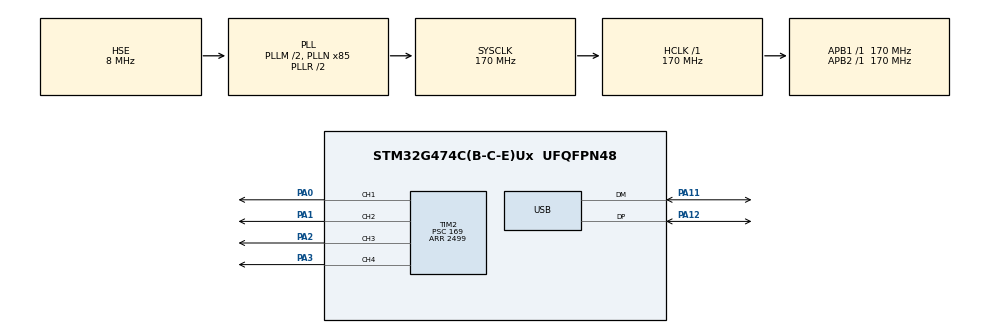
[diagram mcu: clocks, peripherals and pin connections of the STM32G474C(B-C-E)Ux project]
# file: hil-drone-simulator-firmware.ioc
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Mcu.Family=STM32G4
Mcu.Name=STM32G474C(B-C-E)Ux
Mcu.Package=UFQFPN48
NVIC.PriorityGroup=NVIC_PRIORITYGROUP_4
NVIC.TIM6_DAC_IRQn=true\:0\:0\:false\:false\:true\:true\:true\:true
NVIC.USB_LP_IRQn=true\:0\:0\:false\:false\:true\:false\:true\:true
PA0.Signal=S_TIM2_CH1
PA1.Signal=S_TIM2_CH2
PA11.Mode=Device
PA11.Signal=USB_DM
PA12.Mode=Device
PA12.Signal=USB_DP
PA2.Signal=S_TIM2_CH3
PA3.Signal=S_TIM2_CH4
PF0-OSC_IN.Mode=HSE-External-Oscillator
PF0-OSC_IN.Signal=RCC_OSC_IN
PF1-OSC_OUT.Mode=HSE-External-Oscillator
PF1-OSC_OUT.Signal=RCC_OSC_OUT
ProjectManager.HeapSize=0x200
ProjectManager.StackSize=0x400
ProjectManager.TargetToolchain=STM32CubeIDE
RCC.ADC12Freq_Value=170000000
RCC.ADC345Freq_Value=170000000
RCC.AHBFreq_Value=170000000
RCC.APB1Freq_Value=170000000
RCC.APB1TimFreq_Value=170000000
RCC.APB2Freq_Value=170000000
RCC.APB2TimFreq_Value=170000000
RCC.CK48CLockSelection=RCC_USBCLKSOURCE_HSI48
RCC.CortexFreq_Value=170000000
RCC.EXTERNAL_CLOCK_VALUE=12288000
RCC.HCLKFreq_Value=170000000
RCC.HSE_VALUE=8000000
RCC.HSI48_VALUE=48000000
RCC.HSI_VALUE=16000000
RCC.LSE_VALUE=32768
RCC.PLLM=RCC_PLLM_DIV2
RCC.PLLN=85
RCC.PLLQ=RCC_PLLQ_DIV6
RCC.PLLSourceVirtual=RCC_PLLSOURCE_HSE
RCC.SYSCLKFreq_VALUE=170000000
RCC.SYSCLKSource=RCC_SYSCLKSOURCE_PLLCLK
RCC.USBFreq_Value=48000000
RCC.VCOOutputFreq_Value=340000000
SH.S_TIM2_CH1.0=TIM2_CH1,PWM Generation1 CH1
SH.S_TIM2_CH2.0=TIM2_CH2,PWM Generation2 CH2
SH.S_TIM2_CH3.0=TIM2_CH3,PWM Generation3 CH3
SH.S_TIM2_CH4.0=TIM2_CH4,PWM Generation4 CH4
TIM2.Channel-PWM\ Generation1\ CH1=TIM_CHANNEL_1
TIM2.Channel-PWM\ Generation2\ CH2=TIM_CHANNEL_2
TIM2.Channel-PWM\ Generation3\ CH3=TIM_CHANNEL_3
TIM2.Channel-PWM\ Generation4\ CH4=TIM_CHANNEL_4
TIM2.PeriodNoDither=2499
TIM2.Prescaler=169
TIM6.PeriodNoDither=999
TIM6.Prescaler=169
USB_DEVICE.CLASS_NAME_FS=CDC
USB_DEVICE.VirtualMode=Cdc
USB_DEVICE.VirtualModeFS=Cdc_FS
VP_SYS_VS_DBSignals.Mode=DisableDeadBatterySignals
VP_TIM6_VS_ClockSourceINT.Mode=Enable_Timer
VP_USB_DEVICE_VS_USB_DEVICE_CDC_FS.Mode=CDC_FS
board=custom

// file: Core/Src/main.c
/* USER CODE BEGIN Header */
/**
  ******************************************************************************
  * @file           : main.c
  * @brief          : Main program body
  ******************************************************************************
  * @attention
  *
  * Copyright (c) 2026 STMicroelectronics.
  * All rights reserved.
  *
  * This software is licensed under terms that can be found in the LICENSE file
  * in the root directory of this software component.
  * If no LICENSE file comes with this software, it is provided AS-IS.
  *
  ******************************************************************************
  */
/* USER CODE END Header */
#include "main.h"
#include "usb_device.h"

/* USER CODE BEGIN Includes */
#include <math.h>
#include <stdlib.h>
#include "usbd_cdc_if.h"
/* USER CODE END Includes */

/* USER CODE BEGIN PTD */
typedef struct {
    // Parámetros Físicos
    float masa, gravedad, f_aero, tau_motor;
    float inercia_xx, inercia_yy, inercia_zz;
    float alpha, beta;

    // Estado Real (Traslación y Rotación)
    float x, y, z;
    float vx, vy, vz;
    float phi, theta, psi;
    float p, q, r;

    // Sensores y Referencias
    float z_medida, z_filtrada;
    float x_ref, y_ref, z_ref;

    // Salidas PID y Motores
    float theta_deseado, phi_deseado;
    float U1_real, U1_deseado, U2, U3, U4;
    float angulo_max;

    // Memoria PID Z
    float kp_z, ki_z, kd_z;
    float err_z_acum, err_z_prev;

    // Memoria PID XY
    float kp_xy, ki_xy, kd_xy;
    float err_x_acum, err_x_prev;
    float err_y_acum, err_y_prev;

    // Memoria PID Actitud
    float kp_att, ki_att, kd_att;
    float err_phi_acum, err_phi_prev;
    float err_theta_acum, err_theta_prev;
    float err_psi_acum, err_psi_prev;
} Drone_t;
/* USER CODE END PTD */

TIM_HandleTypeDef htim2;
TIM_HandleTypeDef htim6;

/* USER CODE BEGIN PV */
Drone_t drone;
volatile uint8_t received_command = 0;
/* USER CODE END PV */

void SystemClock_Config(void);
static void MX_GPIO_Init(void);
static void MX_TIM2_Init(void);
static void MX_TIM6_Init(void);

int main(void)
{

  /* MCU Configuration--------------------------------------------------------*/

  /* Reset of all peripherals, Initializes the Flash interface and the Systick. */
  HAL_Init();

  /* Configure the system clock */
  SystemClock_Config();

  /* Initialize all configured peripherals */
  MX_GPIO_Init();
  MX_TIM2_Init();
  MX_TIM6_Init();
  MX_USB_Device_Init();
  /* USER CODE BEGIN 2 */
  drone.masa = 1.2f;
  drone.gravedad = 9.81f;
  drone.inercia_xx = 0.01f;
  drone.inercia_yy = 0.01f;
  drone.inercia_zz = 0.01f;
  drone.f_aero = 0.1f;
  drone.tau_motor = 0.05f;

  float dt_nav = 0.01f;
  drone.alpha = dt_nav / (drone.tau_motor + dt_nav);
  drone.beta = 0.1f;

  drone.z = 10.0f;
  drone.z_filtrada = 10.0f;
  drone.U1_real = drone.masa * drone.gravedad;

  drone.x_ref = 5.0f;
  drone.y_ref = 5.0f;
  drone.z_ref = 5.0f;
  drone.angulo_max = 0.3f;

  drone.kp_z = 6.0f;    drone.ki_z = 0.0f;    drone.kd_z = 5.5f;
  drone.kp_xy = 0.04f;  drone.ki_xy = 0.0f;   drone.kd_xy = 0.4f;
  drone.kp_att = 2.5f;  drone.ki_att = 0.0f;  drone.kd_att = 0.3f;

  HAL_TIM_Base_Start_IT(&htim6);
  HAL_TIM_PWM_Start(&htim2, TIM_CHANNEL_1);
  HAL_TIM_PWM_Start(&htim2, TIM_CHANNEL_2);
  HAL_TIM_PWM_Start(&htim2, TIM_CHANNEL_3);
  HAL_TIM_PWM_Start(&htim2, TIM_CHANNEL_4);
  /* USER CODE END 2 */

  /* Infinite loop */
  while (1)
  {

    /* USER CODE BEGIN 3 */

	// RECEPCIÓN DE COMANDO POR USB DESDE EL PC
	if (received_command != 0) {
	  switch(received_command) {
	    case 'w': case 'W': drone.x_ref += 2.0f; break; // Adelante
	    case 's': case 'S': drone.x_ref -= 2.0f; break; // Atrás
	    case 'a': case 'A': drone.y_ref += 2.0f; break; // Izquierda
	    case 'd': case 'D': drone.y_ref -= 2.0f; break; // Derecha
	    case 'r': case 'R': drone.z_ref += 2.0f; break; // Subir (Elevar)
	    case 'f': case 'F': drone.z_ref -= 2.0f; break; // Bajar (Frenar)
	  }
	  received_command = 0;
	}

    // ENVIO DE INFORMACIÓN POR USB AL PC
	// Creamos buffer para guardar el mensaje
	char tx_buffer[64];
	// Formateamos las variables float a texto con 2 decimales
	uint16_t len = snprintf(tx_buffer, sizeof(tx_buffer), "X:%.2f, Y:%.2f, Z:%.2f\r\n", drone.x, drone.y, drone.z);
	// Enviamos el mensaje por el USB
	CDC_Transmit_FS((uint8_t*)tx_buffer, len);
	// Pausa de 50 ms para no saturar el bus USB ni colgar el PC
	HAL_Delay(50);
  }
  /* USER CODE END 3 */
}

void SystemClock_Config(void)
{
  RCC_OscInitTypeDef RCC_OscInitStruct = {0};
  RCC_ClkInitTypeDef RCC_ClkInitStruct = {0};

  /** Configure the main internal regulator output voltage
  */
  HAL_PWREx_ControlVoltageScaling(PWR_REGULATOR_VOLTAGE_SCALE1_BOOST);

  /** Initializes the RCC Oscillators according to the specified parameters
  * in the RCC_OscInitTypeDef structure.
  */
  RCC_OscInitStruct.OscillatorType = RCC_OSCILLATORTYPE_HSI48|RCC_OSCILLATORTYPE_HSE;
  RCC_OscInitStruct.HSEState = RCC_HSE_ON;
  RCC_OscInitStruct.HSI48State = RCC_HSI48_ON;
  RCC_OscInitStruct.PLL.PLLState = RCC_PLL_ON;
  RCC_OscInitStruct.PLL.PLLSource = RCC_PLLSOURCE_HSE;
  RCC_OscInitStruct.PLL.PLLM = RCC_PLLM_DIV2;
  RCC_OscInitStruct.PLL.PLLN = 85;
  RCC_OscInitStruct.PLL.PLLP = RCC_PLLP_DIV2;
  RCC_OscInitStruct.PLL.PLLQ = RCC_PLLQ_DIV6;
  RCC_OscInitStruct.PLL.PLLR = RCC_PLLR_DIV2;
  if (HAL_RCC_OscConfig(&RCC_OscInitStruct) != HAL_OK)
  {
    Error_Handler();
  }

  /** Initializes the CPU, AHB and APB buses clocks
  */
  RCC_ClkInitStruct.ClockType = RCC_CLOCKTYPE_HCLK|RCC_CLOCKTYPE_SYSCLK
                              |RCC_CLOCKTYPE_PCLK1|RCC_CLOCKTYPE_PCLK2;
  RCC_ClkInitStruct.SYSCLKSource = RCC_SYSCLKSOURCE_PLLCLK;
  RCC_ClkInitStruct.AHBCLKDivider = RCC_SYSCLK_DIV1;
  RCC_ClkInitStruct.APB1CLKDivider = RCC_HCLK_DIV1;
  RCC_ClkInitStruct.APB2CLKDivider = RCC_HCLK_DIV1;

  if (HAL_RCC_ClockConfig(&RCC_ClkInitStruct, FLASH_LATENCY_4) != HAL_OK)
  {
    Error_Handler();
  }
}

static void MX_TIM2_Init(void)
{

  TIM_MasterConfigTypeDef sMasterConfig = {0};
  TIM_OC_InitTypeDef sConfigOC = {0};

  htim2.Instance = TIM2;
  htim2.Init.Prescaler = 169;
  htim2.Init.CounterMode = TIM_COUNTERMODE_UP;
  htim2.Init.Period = 2499;
  htim2.Init.ClockDivision = TIM_CLOCKDIVISION_DIV1;
  htim2.Init.AutoReloadPreload = TIM_AUTORELOAD_PRELOAD_DISABLE;
  if (HAL_TIM_PWM_Init(&htim2) != HAL_OK)
  {
    Error_Handler();
  }
  sMasterConfig.MasterOutputTrigger = TIM_TRGO_RESET;
  sMasterConfig.MasterSlaveMode = TIM_MASTERSLAVEMODE_DISABLE;
  if (HAL_TIMEx_MasterConfigSynchronization(&htim2, &sMasterConfig) != HAL_OK)
  {
    Error_Handler();
  }
  sConfigOC.OCMode = TIM_OCMODE_PWM1;
  sConfigOC.Pulse = 0;
  sConfigOC.OCPolarity = TIM_OCPOLARITY_HIGH;
  sConfigOC.OCFastMode = TIM_OCFAST_DISABLE;
  if (HAL_TIM_PWM_ConfigChannel(&htim2, &sConfigOC, TIM_CHANNEL_1) != HAL_OK)
  {
    Error_Handler();
  }
  if (HAL_TIM_PWM_ConfigChannel(&htim2, &sConfigOC, TIM_CHANNEL_2) != HAL_OK)
  {
    Error_Handler();
  }
  if (HAL_TIM_PWM_ConfigChannel(&htim2, &sConfigOC, TIM_CHANNEL_3) != HAL_OK)
  {
    Error_Handler();
  }
  if (HAL_TIM_PWM_ConfigChannel(&htim2, &sConfigOC, TIM_CHANNEL_4) != HAL_OK)
  {
    Error_Handler();
  }
  HAL_TIM_MspPostInit(&htim2);

}

static void MX_TIM6_Init(void)
{

  TIM_MasterConfigTypeDef sMasterConfig = {0};

  htim6.Instance = TIM6;
  htim6.Init.Prescaler = 169;
  htim6.Init.CounterMode = TIM_COUNTERMODE_UP;
  htim6.Init.Period = 999;
  htim6.Init.AutoReloadPreload = TIM_AUTORELOAD_PRELOAD_DISABLE;
  if (HAL_TIM_Base_Init(&htim6) != HAL_OK)
  {
    Error_Handler();
  }
  sMasterConfig.MasterOutputTrigger = TIM_TRGO_RESET;
  sMasterConfig.MasterSlaveMode = TIM_MASTERSLAVEMODE_DISABLE;
  if (HAL_TIMEx_MasterConfigSynchronization(&htim6, &sMasterConfig) != HAL_OK)
  {
    Error_Handler();
  }

}

static void MX_GPIO_Init(void)
{

  /* GPIO Ports Clock Enable */
  __HAL_RCC_GPIOF_CLK_ENABLE();
  __HAL_RCC_GPIOA_CLK_ENABLE();

}

/* USER CODE BEGIN 4 */
void HAL_TIM_PeriodElapsedCallback(TIM_HandleTypeDef *htim) {

  if (htim->Instance == TIM6) {

    float dt_att = 0.001f; // 1 ms

	// LECTURA DE SENSORES SIMULADOS Y FILTRADO
	// Ruido blanco entre -0.2 y 0.2
	float ruido = (((float)rand() / (float)RAND_MAX) * 0.4f) - 0.2f;
	drone.z_medida = drone.z + ruido;
	drone.z_filtrada = (1.0f - drone.beta) * drone.z_filtrada + drone.beta * drone.z_medida;

	// LAZO EXTERNO: NAVEGACIÓN
	static uint8_t div_nav = 0;
	if (++div_nav >= 10) {
      div_nav = 0;
	  float dt_nav = 0.01f;

	  // PID Altitud (Z)
	  float err_z = drone.z_ref - drone.z_filtrada;
	  drone.err_z_acum += err_z * dt_nav;
	  float vel_err_z = (err_z - drone.err_z_prev) / dt_nav;
	  float fuerza_pid = drone.kp_z * err_z + drone.err_z_acum * drone.ki_z + vel_err_z * drone.kd_z;
	  drone.err_z_prev = err_z;
	  drone.U1_deseado = (drone.masa * drone.gravedad) + fuerza_pid;

	  // PID Navegación X -> Theta (Pitch)
	  float err_x = drone.x_ref - drone.x;
	  drone.err_x_acum += err_x * dt_nav;
	  float vel_err_x = (err_x - drone.err_x_prev) / dt_nav;
	  drone.theta_deseado = drone.kp_xy * err_x + drone.err_x_acum * drone.ki_xy + vel_err_x * drone.kd_xy;
	  drone.err_x_prev = err_x;

	  // PID Navegación Y -> Phi (Roll)
	  float err_y = drone.y_ref - drone.y;
	  drone.err_y_acum += err_y * dt_nav;
	  float vel_err_y = (err_y - drone.err_y_prev) / dt_nav;
	  drone.phi_deseado = -(drone.kp_xy * err_y + drone.err_y_acum * drone.ki_xy + vel_err_y * drone.kd_xy);
	  drone.err_y_prev = err_y;

	  // Saturación de Seguridad
	  if(drone.theta_deseado > drone.angulo_max) drone.theta_deseado = drone.angulo_max;
	  else if(drone.theta_deseado < -drone.angulo_max) drone.theta_deseado = -drone.angulo_max;

	  if(drone.phi_deseado > drone.angulo_max) drone.phi_deseado = drone.angulo_max;
	  else if(drone.phi_deseado < -drone.angulo_max) drone.phi_deseado = -drone.angulo_max;

	  // Límite de Motores
	  if (drone.U1_deseado <= 0.0f) drone.U1_deseado = 0.0f;
	  else if (drone.U1_deseado > 3.0f * drone.masa * drone.gravedad) drone.U1_deseado = 3.0f * drone.masa * drone.gravedad;
	}

	// RETARDO FÍSICO DE LOS MOTORES
	drone.U1_real += drone.alpha * (drone.U1_deseado - drone.U1_real);

	// LAZO INTERNO: ACTITUD
	// PID Roll
	float err_phi = drone.phi_deseado - drone.phi;
	drone.err_phi_acum += err_phi * dt_att;
	float vel_err_phi = (err_phi - drone.err_phi_prev) / dt_att;
	drone.U2 = drone.kp_att * err_phi + drone.err_phi_acum * drone.ki_att + vel_err_phi * drone.kd_att;
	drone.err_phi_prev = err_phi;

	// PID Pitch
	float err_theta = drone.theta_deseado - drone.theta;
	drone.err_theta_acum += err_theta * dt_att;
	float vel_err_theta = (err_theta - drone.err_theta_prev) / dt_att;
	drone.U3 = drone.kp_att * err_theta + drone.err_theta_acum * drone.ki_att + vel_err_theta * drone.kd_att;
	drone.err_theta_prev = err_theta;

	// PID Yaw
	float err_psi = 0.0f - drone.psi;
	drone.err_psi_acum += err_psi * dt_att;
	float vel_err_psi = (err_psi - drone.err_psi_prev) / dt_att;
	drone.U4 = drone.kp_att * err_psi + drone.err_psi_acum * drone.ki_att + vel_err_psi * drone.kd_att;
	drone.err_psi_prev = err_psi;

	// FÍSICA NEWTONIANA
	float dp = (drone.U2 + (drone.inercia_yy - drone.inercia_zz) * drone.q * drone.r) / drone.inercia_xx;
	float dq = (drone.U3 + (drone.inercia_zz - drone.inercia_xx) * drone.p * drone.r) / drone.inercia_yy;
	float dr = (drone.U4 + (drone.inercia_xx - drone.inercia_yy) * drone.p * drone.q) / drone.inercia_zz;

	float dphi = drone.p + drone.q * sinf(drone.phi) * tanf(drone.theta) + drone.r * cosf(drone.phi) * tanf(drone.theta);
	float dtheta = drone.q * cosf(drone.phi) - drone.r * sinf(drone.phi);
	float dpsi = drone.q * sinf(drone.phi) / cosf(drone.theta) + drone.r * cosf(drone.phi) / cosf(drone.theta);

	float ax = (drone.U1_real / drone.masa) * (cosf(drone.phi) * sinf(drone.theta) * cosf(drone.psi) + sinf(drone.phi) * sinf(drone.psi)) - (drone.f_aero / drone.masa) * drone.vx;
	float ay = (drone.U1_real / drone.masa) * (cosf(drone.phi) * sinf(drone.theta) * sinf(drone.psi) - sinf(drone.phi) * cosf(drone.psi)) - (drone.f_aero / drone.masa) * drone.vy;
	float az = (drone.U1_real / drone.masa) * (cosf(drone.phi) * cosf(drone.theta)) - drone.gravedad - (drone.f_aero / drone.masa) * drone.vz;

	// Integración Numérica (Euler)
	drone.vx += ax * dt_att;
	drone.vy += ay * dt_att;
	drone.vz += az * dt_att;

	drone.x += drone.vx * dt_att;
	drone.y += drone.vy * dt_att;
	drone.z += drone.vz * dt_att;

	// Choque contra el suelo
	if (drone.z <= 0.0f) {
	  drone.z = 0.0f;
	  drone.vz = 0.0f;
	}

	drone.p += dp * dt_att;
	drone.q += dq * dt_att;
	drone.r += dr * dt_att;

	drone.phi += dphi * dt_att;
	drone.theta += dtheta * dt_att;
	drone.psi += dpsi * dt_att;
  }
}
/* USER CODE END 4 */

void Error_Handler(void)
{
  __disable_irq();
  while (1)
  {
  }
}
